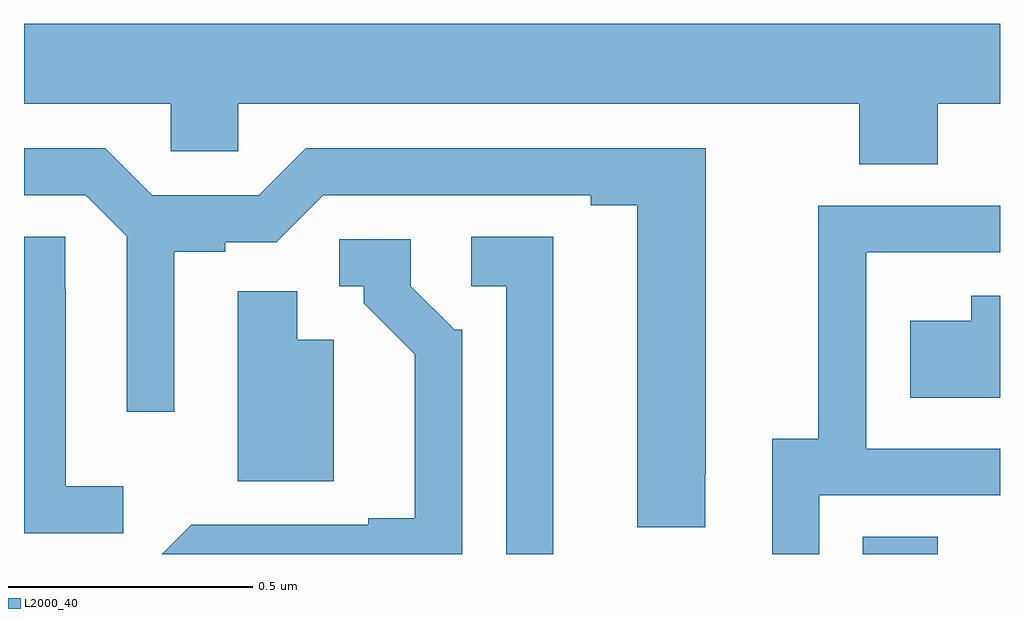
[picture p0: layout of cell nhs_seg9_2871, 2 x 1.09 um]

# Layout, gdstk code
import gdstk
lib = gdstk.Library(unit=1e-6, precision=1e-09)
def R(c, l, rs):  # rectangles x0, y0, x1, y1
    for r in rs: c.add(gdstk.rectangle(r[:2], r[2:], *l))
def P(c, l, *ps):  # polygons
    for p in ps: c.add(gdstk.Polygon(p, *l))
L2000_40 = (2000, 40)

nhs_seg9_2871 = lib.new_cell('nhs_seg9_2871')
R(nhs_seg9_2871, L2000_40, [(147.719,1191.5,147.872,1191.536)])
P(nhs_seg9_2871, L2000_40, [(147.872,1192.424),(148,1192.424),(148,1192.588),(146,1192.588),(146,1192.424),(146.301,1192.424),(146.301,1192.326),(146.439,1192.326),(146.439,1192.424),(147.712,1192.424),(147.712,1192.3),(147.872,1192.3)],
  [(147.396,1191.664),(147.397,1191.664),(147.397,1192.332),(146.577,1192.332),(146.481,1192.236),(146.263,1192.236),(146.167,1192.332),(146,1192.332),(146,1192.236),(146.127,1192.236),(146.211,1192.152),(146.211,1191.792),(146.308,1191.792),(146.308,1192.12),(146.412,1192.12),(146.412,1192.14),(146.517,1192.14),(146.613,1192.236),(147.161,1192.236),(147.161,1192.216),(147.257,1192.216),(147.257,1191.556),(147.396,1191.556)],
  [(147.63,1191.621),(148,1191.621),(148,1191.717),(147.726,1191.717),(147.726,1192.118),(147.728,1192.118),(147.728,1192.119),(148,1192.119),(148,1192.215),(147.628,1192.215),(147.628,1191.737),(147.533,1191.737),(147.533,1191.5),(147.63,1191.5)],
  [(147.085,1192.151),(146.916,1192.151),(146.916,1192.05),(146.988,1192.05),(146.988,1191.5),(147.085,1191.5)],
  [(146.203,1191.64),(146.086,1191.64),(146.086,1192.043),(146.085,1192.043),(146.085,1192.151),(146,1192.151),(146,1191.543),(146.203,1191.543)],
  [(146.898,1191.96),(146.883,1191.96),(146.793,1192.05),(146.793,1192.146),(146.646,1192.146),(146.646,1192.05),(146.696,1192.05),(146.696,1192.015),(146.801,1191.91),(146.801,1191.574),(146.705,1191.574),(146.705,1191.561),(146.343,1191.561),(146.282,1191.5),(146.898,1191.5)],
  [(146.635,1191.94),(146.56,1191.94),(146.56,1192.039),(146.438,1192.039),(146.438,1191.65),(146.635,1191.65)],
  [(148,1192.03),(147.941,1192.03),(147.941,1191.979),(147.816,1191.979),(147.816,1191.821),(148,1191.821)])

lib.write_gds('nhs_seg9_2871.gds')
